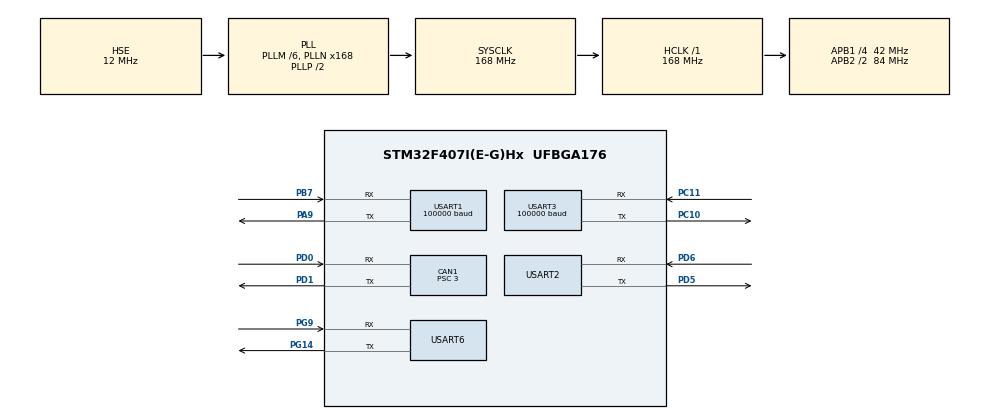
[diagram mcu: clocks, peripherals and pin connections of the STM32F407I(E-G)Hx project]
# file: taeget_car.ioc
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CAN1.ABOM=ENABLE
CAN1.BS1=CAN_BS1_9TQ
CAN1.BS2=CAN_BS2_4TQ
CAN1.CalculateBaudRate=1000000
CAN1.CalculateTimeBit=1000
CAN1.CalculateTimeQuantum=71.42857142857143
CAN1.NART=ENABLE
CAN1.Prescaler=3
Dma.Request0=USART1_RX
Dma.Request1=USART3_RX
Dma.USART1_RX.0.Direction=DMA_PERIPH_TO_MEMORY
Dma.USART1_RX.0.FIFOMode=DMA_FIFOMODE_DISABLE
Dma.USART1_RX.0.Instance=DMA2_Stream2
Dma.USART1_RX.0.MemDataAlignment=DMA_MDATAALIGN_BYTE
Dma.USART1_RX.0.MemInc=DMA_MINC_ENABLE
Dma.USART1_RX.0.Mode=DMA_CIRCULAR
Dma.USART1_RX.0.PeriphDataAlignment=DMA_PDATAALIGN_BYTE
Dma.USART1_RX.0.PeriphInc=DMA_PINC_DISABLE
Dma.USART1_RX.0.Priority=DMA_PRIORITY_LOW
Dma.USART3_RX.1.Direction=DMA_PERIPH_TO_MEMORY
Dma.USART3_RX.1.FIFOMode=DMA_FIFOMODE_DISABLE
Dma.USART3_RX.1.Instance=DMA1_Stream1
Dma.USART3_RX.1.MemDataAlignment=DMA_MDATAALIGN_BYTE
Dma.USART3_RX.1.MemInc=DMA_MINC_ENABLE
Dma.USART3_RX.1.Mode=DMA_NORMAL
Dma.USART3_RX.1.PeriphDataAlignment=DMA_PDATAALIGN_BYTE
Dma.USART3_RX.1.PeriphInc=DMA_PINC_DISABLE
Dma.USART3_RX.1.Priority=DMA_PRIORITY_LOW
FREERTOS.Tasks01=defaultTask,24,128,StartDefaultTask,Default,NULL,Dynamic,NULL,NULL
Mcu.Family=STM32F4
Mcu.Name=STM32F407I(E-G)Hx
Mcu.Package=UFBGA176
NVIC.CAN1_RX0_IRQn=true\:5\:0\:false\:false\:true\:true\:true\:true\:true
NVIC.DMA1_Stream1_IRQn=true\:5\:0\:false\:false\:true\:true\:false\:true\:true
NVIC.DMA2_Stream2_IRQn=true\:5\:0\:false\:false\:true\:true\:false\:true\:true
NVIC.PriorityGroup=NVIC_PRIORITYGROUP_4
NVIC.TIM1_BRK_TIM9_IRQn=true\:15\:0\:false\:false\:true\:false\:false\:true\:true
NVIC.TimeBase=TIM1_BRK_TIM9_IRQn
NVIC.TimeBaseIP=TIM9
NVIC.USART3_IRQn=true\:5\:0\:false\:false\:true\:true\:true\:true\:true
NVIC.USART6_IRQn=true\:5\:0\:false\:false\:true\:true\:true\:true\:true
PA13.Mode=Serial_Wire
PA13.Signal=SYS_JTMS-SWDIO
PA14.Mode=Serial_Wire
PA14.Signal=SYS_JTCK-SWCLK
PA9.Mode=Asynchronous
PA9.Signal=USART1_TX
PB7.Mode=Asynchronous
PB7.Signal=USART1_RX
PC10.Mode=Asynchronous
PC10.Signal=USART3_TX
PC11.Mode=Asynchronous
PC11.Signal=USART3_RX
PD0.Mode=CAN_Activate
PD0.Signal=CAN1_RX
PD1.Mode=CAN_Activate
PD1.Signal=CAN1_TX
PD5.Mode=Asynchronous
PD5.Signal=USART2_TX
PD6.Mode=Asynchronous
PD6.Signal=USART2_RX
PG14.Mode=Asynchronous
PG14.Signal=USART6_TX
PG9.Mode=Asynchronous
PG9.Signal=USART6_RX
PH0-OSC_IN.Mode=HSE-External-Oscillator
PH0-OSC_IN.Signal=RCC_OSC_IN
PH1-OSC_OUT.Mode=HSE-External-Oscillator
PH1-OSC_OUT.Signal=RCC_OSC_OUT
ProjectManager.HeapSize=0x200
ProjectManager.StackSize=0x400
ProjectManager.TargetToolchain=CMake
RCC.48MHZClocksFreq_Value=84000000
RCC.AHBFreq_Value=168000000
RCC.APB1CLKDivider=RCC_HCLK_DIV4
RCC.APB1Freq_Value=42000000
RCC.APB1TimFreq_Value=84000000
RCC.APB2CLKDivider=RCC_HCLK_DIV2
RCC.APB2Freq_Value=84000000
RCC.APB2TimFreq_Value=168000000
RCC.CortexFreq_Value=168000000
RCC.HCLKFreq_Value=168000000
RCC.HSE_VALUE=12000000
RCC.HSI_VALUE=16000000
RCC.LSE_VALUE=32768
RCC.PLLM=6
RCC.PLLN=168
RCC.PLLSourceVirtual=RCC_PLLSOURCE_HSE
RCC.SYSCLKFreq_VALUE=168000000
RCC.SYSCLKSource=RCC_SYSCLKSOURCE_PLLCLK
RCC.VCOOutputFreq_Value=336000000
USART1.BaudRate=100000
USART1.Parity=PARITY_EVEN
USART1.VirtualMode=VM_ASYNC
USART1.WordLength=WORDLENGTH_9B
USART2.VirtualMode=VM_ASYNC
USART3.BaudRate=100000
USART3.VirtualMode=VM_ASYNC
USART6.VirtualMode=VM_ASYNC
VP_FREERTOS_VS_CMSIS_V2.Mode=CMSIS_V2
VP_SYS_VS_tim9.Mode=TIM9
board=custom

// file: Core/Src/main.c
/* USER CODE BEGIN Header */
/**
  ******************************************************************************
  * @file           : main.c
  * @brief          : Main program body
  ******************************************************************************
  * @attention
  *
  * Copyright (c) 2026 STMicroelectronics.
  * All rights reserved.
  *
  * This software is licensed under terms that can be found in the LICENSE file
  * in the root directory of this software component.
  * If no LICENSE file comes with this software, it is provided AS-IS.
  *
  ******************************************************************************
  */
/* USER CODE END Header */
#include "main.h"

#include "remoteio.hpp"
#include "canio.h"
#include "LK9025.h"
#include "GM6020.h"
#include "vofa_remote.hpp"
/* USER CODE END Includes */

/* USER CODE BEGIN PD */
#define MF9025_ALL_ID_TEST 0 /* Single connected motor only; 0 restores normal control. */

/* USER CODE END PD */

CAN_HandleTypeDef hcan1;

UART_HandleTypeDef huart1;
UART_HandleTypeDef huart2;
UART_HandleTypeDef huart3;
UART_HandleTypeDef huart6;
DMA_HandleTypeDef hdma_usart1_rx;
DMA_HandleTypeDef hdma_usart3_rx;

/* Definitions for defaultTask */
osThreadId_t defaultTaskHandle;
const osThreadAttr_t defaultTask_attributes = {
  .name = "defaultTask",
  .stack_size = 128 * 4,
  .priority = (osPriority_t) osPriorityNormal,
};
/* USER CODE BEGIN PV */
static CANIO_Bus_t can1_bus;

/* Diagnostic swap: object/telemetry names are retained for comparison.
 * mf9025_id1 / mf1_* now address physical ID 5 (0x145), sent first.
 * mf9025_id5 / mf5_* now address physical ID 1 (0x141), sent second.
 * This does not change IDs stored in the motors. */
static LK9025_t mf9025_id1;
static LK9025_t mf9025_id5;

/* 使用 GM6020.c 已经定义的 motor[3]，motor[0] 代表 ID 6 */

static LK9025_Telemetry_t mf1_telemetry;
static LK9025_Telemetry_t mf5_telemetry;
static GM6020_Telemetry_t gm6_telemetry;

static volatile HAL_StatusTypeDef mf1_tx_status;
static volatile HAL_StatusTypeDef mf5_tx_status;
static volatile HAL_StatusTypeDef gm6_tx_status;
static volatile int16_t gm6_control_output;
static volatile uint8_t mf_test_last_id;
static volatile uint8_t mf_test_last_command;
static volatile float mf_test_speed_rpm;
static volatile HAL_StatusTypeDef mf_test_tx_status;
/* USER CODE END PV */

void SystemClock_Config(void);
static void MX_GPIO_Init(void);
static void MX_DMA_Init(void);
static void MX_CAN1_Init(void);
static void MX_USART1_UART_Init(void);
static void MX_USART2_UART_Init(void);
static void MX_USART3_UART_Init(void);
static void MX_USART6_UART_Init(void);
static void CAN1_Start(void);
static void Update9025FromRemote(void);
void StartDefaultTask(void *argument);

/* USER CODE BEGIN PFP */
static void GM6020_RxRoute(
    const CANIO_Frame_t *frame,
    void *user_data
);
/* USER CODE END PFP */

int main(void)
{

  /* MCU Configuration--------------------------------------------------------*/

  /* Reset of all peripherals, Initializes the Flash interface and the Systick. */
  HAL_Init();

  /* Configure the system clock */
  SystemClock_Config();

  /* Initialize all configured peripherals */
  MX_GPIO_Init();
  MX_DMA_Init();
  MX_CAN1_Init();
  MX_USART1_UART_Init();
  MX_USART2_UART_Init();
  MX_USART3_UART_Init();
  MX_USART6_UART_Init();
  /* USER CODE BEGIN 2 */
  REMOTEIO_Init(
      sbus_rx_buf[0],
      sbus_rx_buf[1],
      SBUS_RX_BUF_NUM
      );

  CAN1_Start();
  /* USER CODE END 2 */

  /* Init scheduler */
  osKernelInitialize();

  /* Create the thread(s) */
  /* creation of defaultTask */
  defaultTaskHandle = osThreadNew(StartDefaultTask, NULL, &defaultTask_attributes);

  /* Start scheduler */
  osKernelStart();

  /* We should never get here as control is now taken by the scheduler */

  /* Infinite loop */
  while (1)
  {

  }
}

void SystemClock_Config(void)
{
  RCC_OscInitTypeDef RCC_OscInitStruct = {0};
  RCC_ClkInitTypeDef RCC_ClkInitStruct = {0};

  /** Configure the main internal regulator output voltage
  */
  __HAL_RCC_PWR_CLK_ENABLE();
  __HAL_PWR_VOLTAGESCALING_CONFIG(PWR_REGULATOR_VOLTAGE_SCALE1);

  /** Initializes the RCC Oscillators according to the specified parameters
  * in the RCC_OscInitTypeDef structure.
  */
  RCC_OscInitStruct.OscillatorType = RCC_OSCILLATORTYPE_HSE;
  RCC_OscInitStruct.HSEState = RCC_HSE_ON;
  RCC_OscInitStruct.PLL.PLLState = RCC_PLL_ON;
  RCC_OscInitStruct.PLL.PLLSource = RCC_PLLSOURCE_HSE;
  RCC_OscInitStruct.PLL.PLLM = 6;
  RCC_OscInitStruct.PLL.PLLN = 168;
  RCC_OscInitStruct.PLL.PLLP = RCC_PLLP_DIV2;
  RCC_OscInitStruct.PLL.PLLQ = 4;
  if (HAL_RCC_OscConfig(&RCC_OscInitStruct) != HAL_OK)
  {
    Error_Handler();
  }

  /** Initializes the CPU, AHB and APB buses clocks
  */
  RCC_ClkInitStruct.ClockType = RCC_CLOCKTYPE_HCLK|RCC_CLOCKTYPE_SYSCLK
                              |RCC_CLOCKTYPE_PCLK1|RCC_CLOCKTYPE_PCLK2;
  RCC_ClkInitStruct.SYSCLKSource = RCC_SYSCLKSOURCE_PLLCLK;
  RCC_ClkInitStruct.AHBCLKDivider = RCC_SYSCLK_DIV1;
  RCC_ClkInitStruct.APB1CLKDivider = RCC_HCLK_DIV4;
  RCC_ClkInitStruct.APB2CLKDivider = RCC_HCLK_DIV2;

  if (HAL_RCC_ClockConfig(&RCC_ClkInitStruct, FLASH_LATENCY_5) != HAL_OK)
  {
    Error_Handler();
  }
}

static void MX_CAN1_Init(void)
{

  hcan1.Instance = CAN1;
  hcan1.Init.Prescaler = 3;
  hcan1.Init.Mode = CAN_MODE_NORMAL;
  hcan1.Init.SyncJumpWidth = CAN_SJW_1TQ;
  hcan1.Init.TimeSeg1 = CAN_BS1_9TQ;
  hcan1.Init.TimeSeg2 = CAN_BS2_4TQ;
  hcan1.Init.TimeTriggeredMode = DISABLE;
  hcan1.Init.AutoBusOff = ENABLE;
  hcan1.Init.AutoWakeUp = DISABLE;
  hcan1.Init.AutoRetransmission = ENABLE;
  hcan1.Init.ReceiveFifoLocked = DISABLE;
  hcan1.Init.TransmitFifoPriority = DISABLE;
  if (HAL_CAN_Init(&hcan1) != HAL_OK)
  {
    Error_Handler();
  }

}

static void CAN1_Start(void)
{
  CAN_FilterTypeDef filter = {0};

  filter.FilterBank = 0U;
  filter.FilterMode = CAN_FILTERMODE_IDMASK;
  filter.FilterScale = CAN_FILTERSCALE_32BIT;
  filter.FilterIdHigh = 0U;
  filter.FilterIdLow = 0U;
  filter.FilterMaskIdHigh = 0U;
  filter.FilterMaskIdLow = 0U;
  filter.FilterFIFOAssignment = CAN_FILTER_FIFO0;
  filter.FilterActivation = ENABLE;
  filter.SlaveStartFilterBank = 14U;

  if (HAL_CAN_ConfigFilter(&hcan1, &filter) != HAL_OK)
  {
    Error_Handler();
  }

  CANIO_Init(&can1_bus, &hcan1);

  if (!LK9025_Init(&mf9025_id1, &can1_bus, 5U) ||
      !LK9025_Init(&mf9025_id5, &can1_bus, 1U))
  {
    Error_Handler();
  }

  GM6020_Init(&motor[0], 6U);
  if (!CANIO_Register(&can1_bus,
                     GM6020_FEEDBACK_BASE_ID + 6U,
                     GM6020_RxRoute,
                     &motor[0]))
  {
    Error_Handler();
  }

  if (HAL_CAN_Start(&hcan1) != HAL_OK)
  {
    Error_Handler();
  }

  if (HAL_CAN_ActivateNotification(
          &hcan1,
          CAN_IT_RX_FIFO0_MSG_PENDING) != HAL_OK)
  {
    Error_Handler();
  }
}

static void Update9025FromRemote(void)
{
  uint32_t primask = __get_PRIMASK();
  int16_t speed_input;
  int16_t mode_input;
  uint8_t remote_offline;
  float target_speed_rpm;

  __disable_irq();
  speed_input = rc_ctrl.rc.ch[3];
  mode_input = rc_ctrl.rc.ch[4];
  remote_offline = (uint8_t)(
      (rc_ctrl.sbus_status.rc_offline != 0U) ||
      (rc_ctrl.sbus_status.failsafe != 0U) ||
      (rc_ctrl.sbus_status.frame_lost != 0U));
  __DMB();
  if (primask == 0U)
  {
    __enable_irq();
  }

  /* I4: 352 = protect, 1695 = speed. Allow +/-30 raw counts
   * around the speed detent; all other values select protection. */
  if ((remote_offline != 0U) || (mode_input < 1665) || (mode_input > 1725))
  {
    LK9025_SetTargetSpeed(&mf9025_id1, 0.0f);
    LK9025_SetTargetSpeed(&mf9025_id5, 0.0f);
    LK9025_SetMode(&mf9025_id1, LK9025_MODE_PROTECT);
    LK9025_SetMode(&mf9025_id5, LK9025_MODE_PROTECT);
    return;
  }

  /* RC channel 3 is the left vertical stick, about -800..800. */
  target_speed_rpm = (float)speed_input * 0.1f;
  LK9025_SetTargetSpeed(&mf9025_id1, target_speed_rpm);
  LK9025_SetTargetSpeed(&mf9025_id5, target_speed_rpm);
  LK9025_SetMode(&mf9025_id1, LK9025_MODE_SPEED);
  LK9025_SetMode(&mf9025_id5, LK9025_MODE_SPEED);
}

/* One frame per control tick. Retry a busy mailbox without skipping an ID. */
static void MF9025_TestAllIds(void)
{
  static uint8_t next_id = LK9025_MIN_MOTOR_ID;
  static uint8_t was_enabled;
  static uint8_t run_sweep;
  uint8_t data[8] = {0};
  uint8_t enabled = (mf9025_id1.command_mode == LK9025_MODE_SPEED);
  float speed = mf9025_id1.command_speed_rpm;

  if (enabled != was_enabled) {
    next_id = LK9025_MIN_MOTOR_ID;
    run_sweep = enabled;
    was_enabled = enabled;
  }
  if (speed > 10.0f) { speed = 10.0f; }
  if (speed < -10.0f) { speed = -10.0f; }
  mf_test_speed_rpm = enabled ? speed : 0.0f;

  if (!enabled) {
    data[0] = LK9025_CMD_STOP;
  } else if (run_sweep) {
    data[0] = LK9025_CMD_RUN;
  } else {
    uint32_t raw = (uint32_t)(int32_t)(speed * 600.0f);
    data[0] = LK9025_CMD_SPEED;
    for (uint8_t i = 0U; i < 4U; ++i) {
      data[4U + i] = (uint8_t)(raw >> (8U * i));
    }
  }
  mf_test_last_id = next_id;
  mf_test_last_command = data[0];
  mf_test_tx_status = CANIO_Send(&can1_bus,
      LK9025_CAN_BASE_ID + next_id, data) ? HAL_OK : HAL_ERROR;
  if (mf_test_tx_status == HAL_OK) {
    if (++next_id > LK9025_MAX_MOTOR_ID) {
      next_id = LK9025_MIN_MOTOR_ID;
      run_sweep = 0U;
    }
  }
}

static void MX_USART1_UART_Init(void)
{

  huart1.Instance = USART1;
  huart1.Init.BaudRate = 115200;
  huart1.Init.WordLength = UART_WORDLENGTH_8B;
  huart1.Init.StopBits = UART_STOPBITS_1;
  huart1.Init.Parity = UART_PARITY_NONE;
  huart1.Init.Mode = UART_MODE_TX_RX;
  huart1.Init.HwFlowCtl = UART_HWCONTROL_NONE;
  huart1.Init.OverSampling = UART_OVERSAMPLING_16;
  if (HAL_UART_Init(&huart1) != HAL_OK)
  {
    Error_Handler();
  }

}

static void MX_USART2_UART_Init(void)
{

  huart2.Instance = USART2;
  huart2.Init.BaudRate = 115200;
  huart2.Init.WordLength = UART_WORDLENGTH_8B;
  huart2.Init.StopBits = UART_STOPBITS_1;
  huart2.Init.Parity = UART_PARITY_NONE;
  huart2.Init.Mode = UART_MODE_TX_RX;
  huart2.Init.HwFlowCtl = UART_HWCONTROL_NONE;
  huart2.Init.OverSampling = UART_OVERSAMPLING_16;
  if (HAL_UART_Init(&huart2) != HAL_OK)
  {
    Error_Handler();
  }

}

static void MX_USART3_UART_Init(void)
{

  huart3.Instance = USART3;
  huart3.Init.BaudRate = 100000;
  huart3.Init.WordLength = UART_WORDLENGTH_9B;
  huart3.Init.StopBits = UART_STOPBITS_2;
  huart3.Init.Parity = UART_PARITY_EVEN;
  huart3.Init.Mode = UART_MODE_RX;
  if (HAL_UART_Init(&huart3) != HAL_OK)
  {
    Error_Handler();
  }

}

static void MX_USART6_UART_Init(void)
{

  huart6.Instance = USART6;
  huart6.Init.BaudRate = 115200;
  huart6.Init.WordLength = UART_WORDLENGTH_8B;
  huart6.Init.StopBits = UART_STOPBITS_1;
  huart6.Init.Parity = UART_PARITY_NONE;
  huart6.Init.Mode = UART_MODE_TX_RX;
  huart6.Init.HwFlowCtl = UART_HWCONTROL_NONE;
  huart6.Init.OverSampling = UART_OVERSAMPLING_16;
  if (HAL_UART_Init(&huart6) != HAL_OK)
  {
    Error_Handler();
  }

}

static void MX_DMA_Init(void)
{

  /* DMA controller clock enable */
  __HAL_RCC_DMA2_CLK_ENABLE();
  __HAL_RCC_DMA1_CLK_ENABLE();

  /* DMA interrupt init */
  /* DMA1_Stream1_IRQn interrupt configuration */
  HAL_NVIC_SetPriority(DMA1_Stream1_IRQn, 5, 0);
  HAL_NVIC_EnableIRQ(DMA1_Stream1_IRQn);
  /* DMA2_Stream2_IRQn interrupt configuration */
  HAL_NVIC_SetPriority(DMA2_Stream2_IRQn, 5, 0);
  HAL_NVIC_EnableIRQ(DMA2_Stream2_IRQn);

}

static void MX_GPIO_Init(void)
{

  /* GPIO Ports Clock Enable */
  __HAL_RCC_GPIOG_CLK_ENABLE();
  __HAL_RCC_GPIOA_CLK_ENABLE();
  __HAL_RCC_GPIOB_CLK_ENABLE();
  __HAL_RCC_GPIOD_CLK_ENABLE();
  __HAL_RCC_GPIOC_CLK_ENABLE();
  __HAL_RCC_GPIOH_CLK_ENABLE();

}

/* USER CODE BEGIN 4 */
static void GM6020_RxRoute(
    const CANIO_Frame_t *frame,
    void *user_data)
{
  GM6020_t *gm6020 = (GM6020_t *)user_data;

  if ((frame == NULL) || (gm6020 == NULL)) {
    return;
  }

  GM6020_ParseFeedback(gm6020, frame);
}
void HAL_CAN_RxFifo0MsgPendingCallback(CAN_HandleTypeDef *hcan)
{
  if ((hcan != NULL) && (hcan->Instance == CAN1))
  {
    CANIO_RxIRQ(&can1_bus);
  }
}
/* USER CODE END 4 */

void StartDefaultTask(void *argument)
{
  uint32_t last_vofa_tick = 0U;
  uint32_t last_control_tick = 0U;

  /* USER CODE BEGIN 5 */

  for(;;)
  {
    REMOTEIO_UpdateStatus();
    CANIO_ProcessRx(&can1_bus);
    /* RX timestamps must not be newer than the control snapshot. */
    uint32_t now = HAL_GetTick();

    if ((uint32_t)(now - last_control_tick) >= 2U)
    {
      last_control_tick = now;
      Update9025FromRemote();
      if (MF9025_ALL_ID_TEST != 0U) {
        MF9025_TestAllIds();
      } else {
      mf1_tx_status = LK9025_UpdateControl(&mf9025_id1, now);
      mf5_tx_status = LK9025_UpdateControl(&mf9025_id5, now);
      gm6_control_output = GM6020_CalculateControl(&motor[0], now);
      gm6_tx_status = GM6020_SendControl(
          &can1_bus,
          6U,
          gm6_control_output);
      }
    }

    if ((uint32_t)(now - last_vofa_tick) >= 20U)
    {
      last_vofa_tick = now;
      LK9025_GetTelemetry(&mf9025_id1, now, &mf1_telemetry);
      LK9025_GetTelemetry(&mf9025_id5, now, &mf5_telemetry);
      GM6020_GetTelemetry(&motor[0], now, &gm6_telemetry);
      (void)VOFA_Remote_Send();
    }

    osDelay(1);
  }

  /* USER CODE END 5 */
}

void HAL_TIM_PeriodElapsedCallback(TIM_HandleTypeDef *htim)
{
  if (htim->Instance == TIM9)
  {
    HAL_IncTick();
  }
}

void Error_Handler(void)
{
  __disable_irq();
  while (1)
  {
  }
}
